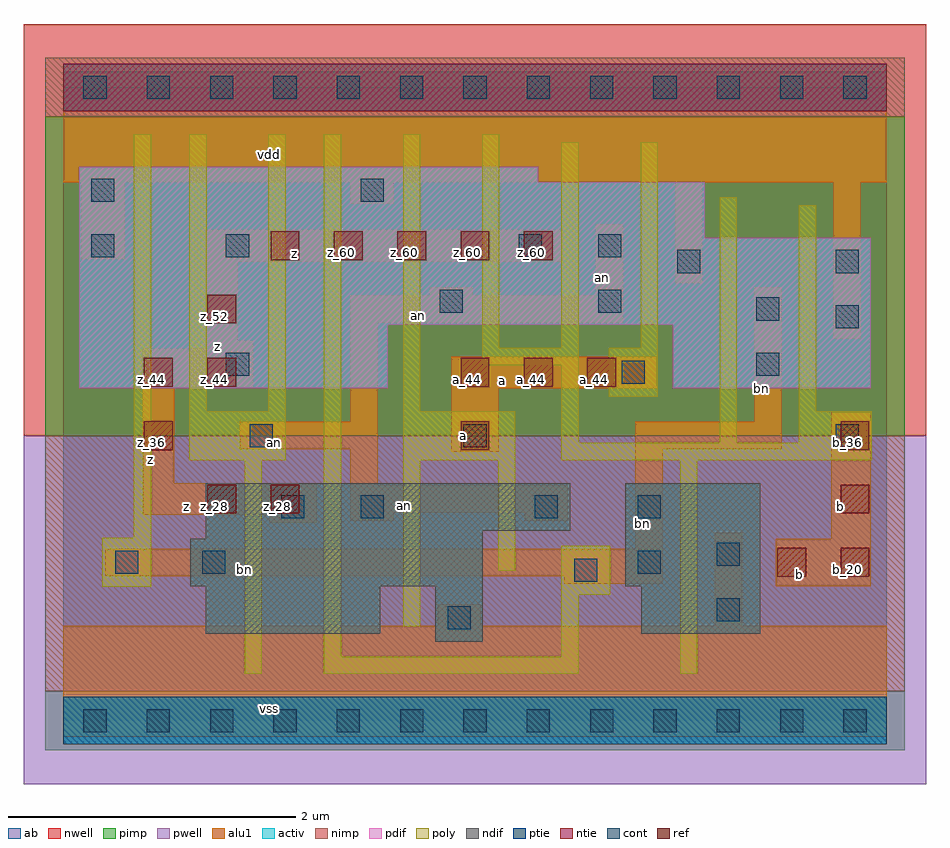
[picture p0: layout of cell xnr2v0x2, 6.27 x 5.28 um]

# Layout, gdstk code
import gdstk
lib = gdstk.Library(unit=1e-6, precision=2.5e-09)
def R(c, l, rs):  # rectangles x0, y0, x1, y1
    for r in rs: c.add(gdstk.rectangle(r[:2], r[2:], *l))
def A(c, l, x, y, w, h, nx, ny, dx, dy):  # array of equal rectangles
    R(c, l, [(x+i*dx, y+j*dy, x+i*dx+w, y+j*dy+h) for i in range(nx) for j in range(ny)])
ndif = (3, 0)
pdif = (4, 0)
ntie = (5, 0)
ptie = (6, 0)
ref = (24, 0)
cont = (25, 0)
pwell = (41, 0)
nwell = (42, 0)
activ = (43, 0)
pimp = (44, 0)
nimp = (45, 0)
poly = (46, 0)
alu1 = (49, 0)
ab = (63, 0)

xnr2v0x2 = lib.new_cell('xnr2v0x2')
R(xnr2v0x2, ndif, [(2.585,0.55,2.915,0.935), (0.99,0.605,2.2,0.935), (4.015,0.605,4.84,0.935), (0.88,0.935,2.915,1.265), (3.905,0.935,4.84,1.65), (0.99,1.265,2.915,1.32), (0.99,1.32,3.52,1.65)])
R(xnr2v0x2, pdif, [(0.11,2.31,2.255,2.75), (4.235,2.31,5.61,2.75), (0.11,2.75,5.61,3.355), (0.11,3.355,4.455,3.74), (0.11,3.74,3.3,3.85)])
R(xnr2v0x2, ntie, [(0,4.235,5.72,4.565)])
R(xnr2v0x2, ptie, [(0,-0.165,5.72,0.165)])
A(xnr2v0x2, ref, 5.4, 1, 0.2, 0.2, 1, 3, 0, 0.44)
A(xnr2v0x2, ref, 2.76, 2.32, 0.2, 0.2, 3, 1, 0.44, 0)
A(xnr2v0x2, ref, 1.44, 3.2, 0.2, 0.2, 5, 1, 0.44, 0)
R(xnr2v0x2, ref, [(4.96,1,5.16,1.2), (1,1.44,1.2,1.64), (1.44,1.44,1.64,1.64), (0.56,1.88,0.76,2.08), (2.76,1.88,2.96,2.08), (0.56,2.32,0.76,2.52), (1,2.32,1.2,2.52), (1,2.76,1.2,2.96)])
A(xnr2v0x2, cont, 0.14, -0.08, 0.16, 0.16, 13, 2, 0.44, 4.4)
R(xnr2v0x2, cont, [(2.67,0.635,2.83,0.795), (4.54,0.69,4.7,0.85), (3.55,0.965,3.71,1.125), (0.36,1.02,0.52,1.18), (0.965,1.02,1.125,1.18), (3.99,1.02,4.15,1.18), (4.54,1.075,4.7,1.235), (1.515,1.405,1.675,1.565), (2.065,1.405,2.225,1.565), (3.275,1.405,3.435,1.565), (3.99,1.405,4.15,1.565), (1.295,1.9,1.455,2.06), (2.78,1.9,2.94,2.06), (5.365,1.9,5.525,2.06), (3.88,2.34,4.04,2.5), (1.13,2.395,1.29,2.555), (4.815,2.395,4.975,2.555), (5.365,2.725,5.525,2.885), (4.815,2.78,4.975,2.94), (2.615,2.835,2.775,2.995), (3.715,2.835,3.875,2.995), (4.265,3.11,4.425,3.27), (5.365,3.11,5.525,3.27), (0.195,3.22,0.355,3.38), (1.13,3.22,1.29,3.38), (3.165,3.22,3.325,3.38), (3.715,3.22,3.875,3.38), (0.195,3.605,0.355,3.765), (2.065,3.605,2.225,3.765)])
R(xnr2v0x2, pwell, [(-0.275,-0.44,5.995,1.98)])
R(xnr2v0x2, nwell, [(-0.275,1.98,5.995,4.84)])
R(xnr2v0x2, activ, [(0,-0.165,5.72,0.165), (2.585,0.55,2.915,0.935), (0.99,0.605,2.2,0.935), (4.015,0.605,4.84,0.935), (0.88,0.935,2.915,1.265), (3.905,0.935,4.84,1.65), (0.99,1.265,2.915,1.32), (0.99,1.32,3.52,1.65), (0.11,2.31,2.255,2.75), (4.235,2.31,5.61,2.75), (0.11,2.75,5.61,3.355), (0.11,3.355,4.455,3.74), (0.11,3.74,3.3,3.85), (0,4.235,5.72,4.565)])
R(xnr2v0x2, pimp, [(-0.125,-0.205,5.845,0.205), (-0.125,1.98,5.845,4.195)])
R(xnr2v0x2, nimp, [(-0.125,0.205,5.845,1.98), (-0.125,4.195,5.845,4.605)])
R(xnr2v0x2, poly, [(1.26,0.325,1.38,1.81), (1.81,0.325,3.58,0.445), (4.285,0.325,4.405,1.81), (1.81,0.445,1.93,4.075), (3.46,0.445,3.58,0.875), (2.36,0.655,2.48,1.81), (3.46,0.875,3.8,1.215), (0.27,0.93,0.61,1.27), (3.02,1.04,3.14,1.81), (0.49,1.27,0.61,4.075), (0.875,1.81,1.545,2.15), (2.36,1.81,3.14,2.15), (3.46,1.81,5.615,1.93), (3.46,1.93,3.58,2.47), (4.56,1.93,4.68,3.635), (5.11,1.93,5.615,2.15), (0.875,2.15,0.995,4.075), (1.425,2.15,1.545,4.075), (2.36,2.15,2.48,4.075), (5.11,2.15,5.23,3.58), (3.79,2.25,4.13,2.59), (2.91,2.47,3.58,2.59), (2.91,2.59,3.03,4.075), (3.46,2.59,3.58,4.02), (4.01,2.59,4.13,4.02)])
R(xnr2v0x2, alu1, [(0,-0.11,5.72,0.66), (2.6,0.66,2.9,0.81), (4.525,0.66,4.715,1.305), (4.95,0.935,5.61,1.265), (3.48,0.95,4.165,1.005), (0.29,1.005,4.165,1.195), (3.975,1.195,4.165,1.885), (5.335,1.265,5.61,2.145), (1.43,1.375,1.76,1.43), (1.995,1.39,2.295,1.445), (3.205,1.39,3.505,1.445), (0.55,1.43,1.76,1.65), (1.995,1.445,3.505,1.635), (1.995,1.635,2.185,1.885), (0.55,1.65,0.77,2.31), (2.695,1.87,3.025,2.31), (1.225,1.885,2.185,2.075), (3.975,1.885,4.99,2.075), (1.995,2.075,2.185,2.765), (4.8,2.075,4.99,3.01), (0.55,2.31,1.32,2.585), (2.695,2.31,4.125,2.53), (0.99,2.585,1.32,2.64), (0.99,2.64,1.21,3.19), (5.35,2.655,5.54,3.74), (1.995,2.765,3.89,2.955), (2.545,2.955,2.845,3.01), (3.7,2.955,3.89,3.45), (4.25,3.04,4.44,3.74), (0.99,3.19,3.465,3.41), (0.125,3.205,0.425,3.74), (1.995,3.59,2.295,3.74), (0,3.74,5.72,4.51)])
R(xnr2v0x2, ab, [(0,0,5.72,4.4)])
xnr2v0x2.add(gdstk.Label('vss', (1.43,0.0825), layer=49, texttype=0))
xnr2v0x2.add(gdstk.Label('b', (5.115,1.0175), layer=49, texttype=0))
xnr2v0x2.add(gdstk.Label('b', (5.4025,1.485), layer=49, texttype=0))
xnr2v0x2.add(gdstk.Label('bn', (1.2575,1.0525), layer=49, texttype=0))
xnr2v0x2.add(gdstk.Label('bn', (4.0225,1.3675), layer=49, texttype=0))
xnr2v0x2.add(gdstk.Label('an', (2.3725,1.4925), layer=49, texttype=0))
xnr2v0x2.add(gdstk.Label('bn', (4.8475,2.3075), layer=49, texttype=0))
xnr2v0x2.add(gdstk.Label('a', (2.7775,1.98), layer=49, texttype=0))
xnr2v0x2.add(gdstk.Label('a', (3.0525,2.365), layer=49, texttype=0))
xnr2v0x2.add(gdstk.Label('z', (0.8525,1.485), layer=49, texttype=0))
xnr2v0x2.add(gdstk.Label('an', (1.465,1.9325), layer=49, texttype=0))
xnr2v0x2.add(gdstk.Label('z', (0.605,1.815), layer=49, texttype=0))
xnr2v0x2.add(gdstk.Label('z', (1.0725,2.5975), layer=49, texttype=0))
xnr2v0x2.add(gdstk.Label('an', (2.4675,2.8125), layer=49, texttype=0))
xnr2v0x2.add(gdstk.Label('an', (3.7475,3.0775), layer=49, texttype=0))
xnr2v0x2.add(gdstk.Label('z', (1.6075,3.245), layer=49, texttype=0))
xnr2v0x2.add(gdstk.Label('vdd', (1.43,3.9325), layer=49, texttype=0))
xnr2v0x2.add(gdstk.Label('z_52', (1.05,2.81), layer=24, texttype=0))
xnr2v0x2.add(gdstk.Label('z_60', (3.25,3.25), layer=24, texttype=0))
xnr2v0x2.add(gdstk.Label('z_60', (2.81,3.25), layer=24, texttype=0))
xnr2v0x2.add(gdstk.Label('z_60', (2.37,3.25), layer=24, texttype=0))
xnr2v0x2.add(gdstk.Label('z_60', (1.93,3.25), layer=24, texttype=0))
xnr2v0x2.add(gdstk.Label('z_60', (1.49,3.25), layer=24, texttype=0))
xnr2v0x2.add(gdstk.Label('z_28', (1.05,1.49), layer=24, texttype=0))
xnr2v0x2.add(gdstk.Label('z_44', (0.61,2.37), layer=24, texttype=0))
xnr2v0x2.add(gdstk.Label('z_36', (0.61,1.93), layer=24, texttype=0))
xnr2v0x2.add(gdstk.Label('z_28', (1.49,1.49), layer=24, texttype=0))
xnr2v0x2.add(gdstk.Label('z_44', (1.05,2.37), layer=24, texttype=0))
xnr2v0x2.add(gdstk.Label('a_44', (3.69,2.37), layer=24, texttype=0))
xnr2v0x2.add(gdstk.Label('a_44', (3.25,2.37), layer=24, texttype=0))
xnr2v0x2.add(gdstk.Label('a_44', (2.81,2.37), layer=24, texttype=0))
xnr2v0x2.add(gdstk.Label('b_36', (5.45,1.93), layer=24, texttype=0))
xnr2v0x2.add(gdstk.Label('b_28', (5.45,1.49), layer=24, texttype=0))
xnr2v0x2.add(gdstk.Label('b_20', (5.45,1.05), layer=24, texttype=0))
xnr2v0x2.add(gdstk.Label('b_20', (5.01,1.05), layer=24, texttype=0))
xnr2v0x2.add(gdstk.Label('a_36', (2.81,1.93), layer=24, texttype=0))

lib.write_gds('xnr2v0x2.gds')
